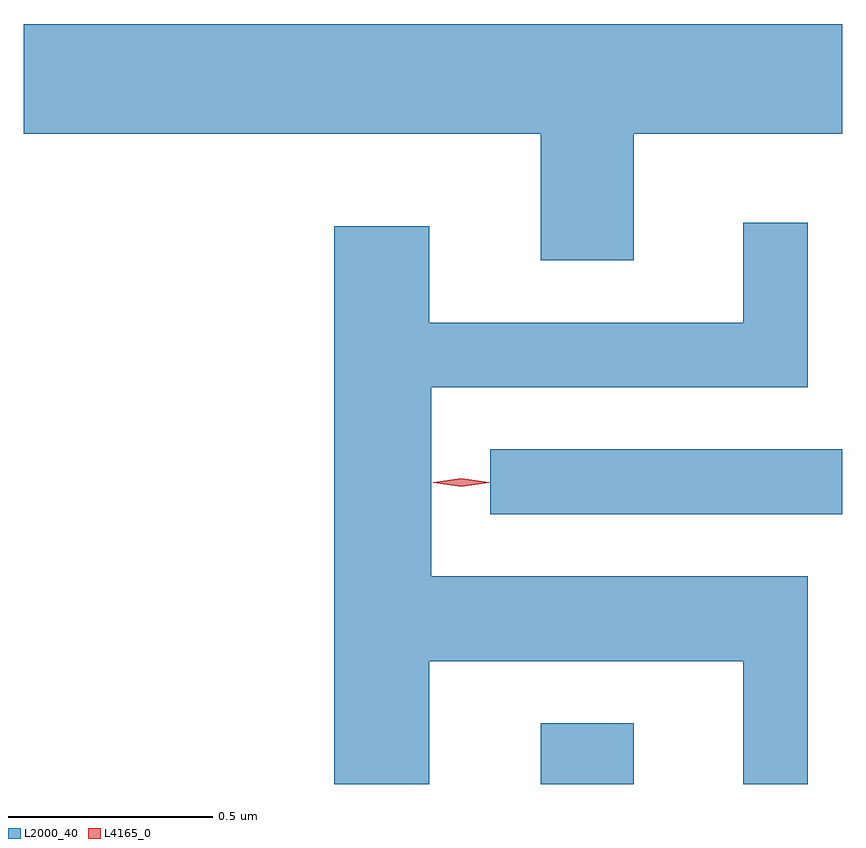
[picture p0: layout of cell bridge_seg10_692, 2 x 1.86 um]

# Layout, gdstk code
import gdstk
lib = gdstk.Library(unit=1e-6, precision=1e-09)
def R(c, l, rs):  # rectangles x0, y0, x1, y1
    for r in rs: c.add(gdstk.rectangle(r[:2], r[2:], *l))
def P(c, l, *ps):  # polygons
    for p in ps: c.add(gdstk.Polygon(p, *l))
L2000_40 = (2000, 40)
L4165_0 = (4165, 0)

bridge_seg10_692 = lib.new_cell('bridge_seg10_692')
R(bridge_seg10_692, L2000_40, [(932.121,2096.786,932.349,2096.934), (931.998,2097.446,932.858,2097.604)])
P(bridge_seg10_692, L2000_40, [(932.349,2098.376),(932.858,2098.376),(932.858,2098.644),(930.858,2098.644),(930.858,2098.376),(932.121,2098.376),(932.121,2098.066),(932.349,2098.066)],
  [(931.849,2097.086),(932.616,2097.086),(932.616,2096.786),(932.774,2096.786),(932.774,2097.294),(931.854,2097.294),(931.854,2097.756),(932.774,2097.756),(932.774,2098.158),(932.616,2098.158),(932.616,2097.914),(931.849,2097.914),(931.849,2098.149),(931.616,2098.149),(931.616,2096.786),(931.849,2096.786)])
P(bridge_seg10_692, L4165_0, [(931.927,2097.513),(931.861,2097.522),(931.86,2097.523),(931.861,2097.524),(931.927,2097.533),(931.992,2097.524),(931.993,2097.523),(931.992,2097.522)],
  [(931.927,2097.513),(931.858,2097.522),(931.857,2097.523),(931.858,2097.524),(931.927,2097.533),(931.996,2097.524),(931.996,2097.523),(931.996,2097.522)])

lib.write_gds('bridge_seg10_692.gds')
